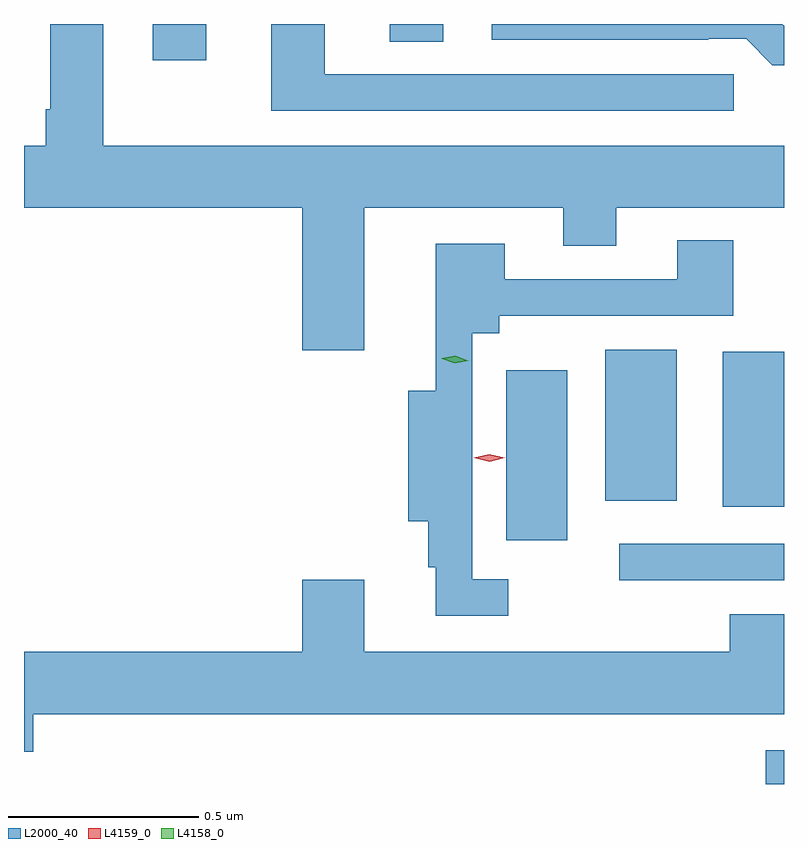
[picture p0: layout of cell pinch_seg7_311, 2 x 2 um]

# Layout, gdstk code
import gdstk
lib = gdstk.Library(unit=1e-6, precision=1e-09)
def R(c, l, rs):  # rectangles x0, y0, x1, y1
    for r in rs: c.add(gdstk.rectangle(r[:2], r[2:], *l))
def P(c, l, *ps):  # polygons
    for p in ps: c.add(gdstk.Polygon(p, *l))
L2000_40 = (2000, 40)
L4158_0 = (4158, 0)
L4159_0 = (4159, 0)

pinch_seg7_311 = lib.new_cell('pinch_seg7_311')
R(pinch_seg7_311, L2000_40, [(561.832,1072.36,561.88,1072.449), (561.447,1072.896,561.88,1072.992), (561.149,1073.001,561.31,1073.449), (561.719,1073.09,561.88,1073.497), (561.41,1073.105,561.598,1073.503), (560.219,1074.264,560.359,1074.36), (560.843,1074.313,560.983,1074.36)])
P(pinch_seg7_311, L2000_40, [(561.748,1074.228),(560.671,1074.228),(560.671,1074.36),(560.531,1074.36),(560.531,1074.132),(561.748,1074.132)],
  [(561.88,1074.356),(561.876,1074.36),(561.111,1074.36),(561.111,1074.318),(561.68,1074.318),(561.68,1074.321),(561.78,1074.321),(561.849,1074.252),(561.88,1074.252)],
  [(560.089,1074.36),(559.949,1074.36),(559.949,1074.136),(559.937,1074.136),(559.937,1074.04),(559.88,1074.04),(559.88,1073.876),(560.612,1073.876),(560.612,1073.502),(560.776,1073.502),(560.776,1073.876),(561.299,1073.876),(561.299,1073.777),(561.439,1073.777),(561.439,1073.876),(561.88,1073.876),(561.88,1074.04),(560.089,1074.04)],
  [(561.154,1072.899),(561.06,1072.899),(561.06,1073.546),(561.13,1073.546),(561.13,1073.592),(561.747,1073.592),(561.747,1073.791),(561.599,1073.791),(561.599,1073.688),(561.145,1073.688),(561.145,1073.782),(560.963,1073.782),(560.963,1073.395),(560.891,1073.395),(560.891,1073.051),(560.944,1073.051),(560.944,1072.931),(560.963,1072.931),(560.963,1072.803),(561.154,1072.803)],
  [(559.904,1072.544),(561.88,1072.544),(561.88,1072.807),(561.737,1072.807),(561.737,1072.708),(560.776,1072.708),(560.776,1072.897),(560.612,1072.897),(560.612,1072.708),(559.88,1072.708),(559.88,1072.445),(559.904,1072.445)])
P(pinch_seg7_311, L4158_0, [(561.013,1073.467),(560.979,1073.479),(560.979,1073.479),(560.979,1073.48),(561.015,1073.487),(561.049,1073.474),(561.049,1073.474),(561.049,1073.474)])
P(pinch_seg7_311, L4159_0, [(561.105,1073.208),(561.064,1073.218),(561.064,1073.218),(561.064,1073.218),(561.104,1073.228),(561.145,1073.218),(561.145,1073.218),(561.145,1073.218)])

lib.write_gds('pinch_seg7_311.gds')
